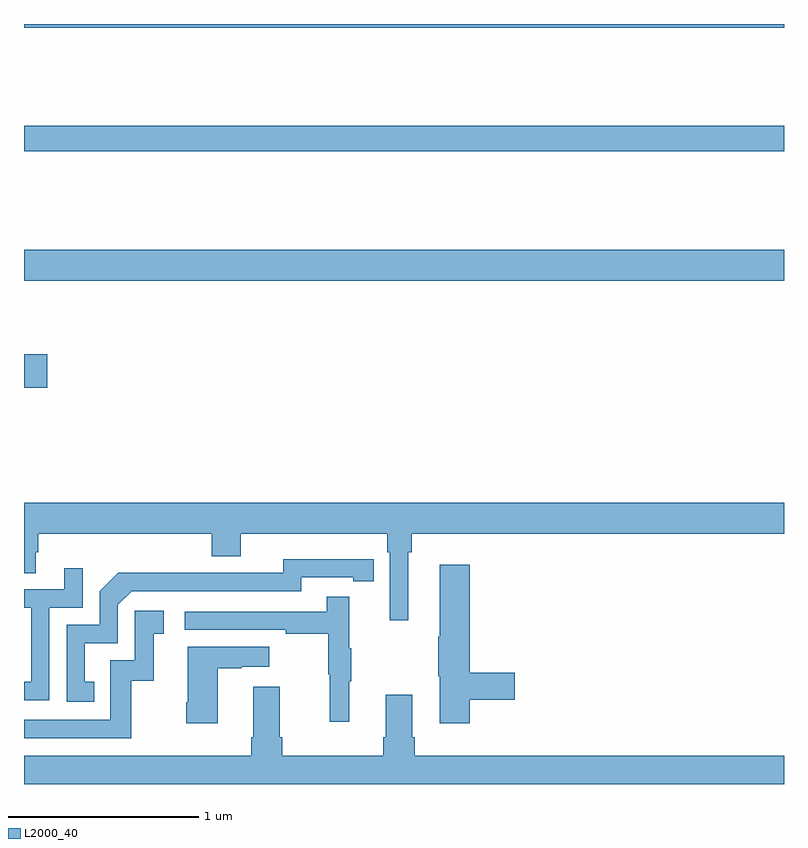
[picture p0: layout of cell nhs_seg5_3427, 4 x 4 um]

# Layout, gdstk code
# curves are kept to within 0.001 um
import gdstk
lib = gdstk.Library(unit=1e-6, precision=1e-09)
def R(c, l, rs):  # rectangles x0, y0, x1, y1
    for r in rs: c.add(gdstk.rectangle(r[:2], r[2:], *l))
def P(c, l, *ps):  # polygons
    for p in ps: c.add(gdstk.Polygon(p, *l))
L2000_40 = (2000, 40)

nhs_seg5_3427 = lib.new_cell('nhs_seg5_3427')
R(nhs_seg5_3427, L2000_40, [(313,834.884,313.123,835.062), (313,835.448,317,835.612), (313,836.128,317,836.264), (313,836.78,317,836.799)])
P(nhs_seg5_3427, L2000_40, [(315.022,834.02),(315.041,834.02),(315.041,834.116),(317,834.116),(317,834.28),(313,834.28),(313,833.908),(313.063,833.908),(313.063,834.018),(313.076,834.018),(313.076,834.116),(313.988,834.116),(313.988,833.999),(314.14,833.999),(314.14,834.116),(314.912,834.116),(314.912,834.02),(314.925,834.02),(314.925,833.661),(315.022,833.661)],
  [(313.37,833.337),(313.321,833.337),(313.321,833.541),(313.494,833.541),(313.494,833.742),(313.566,833.814),(314.46,833.814),(314.46,833.886),(314.732,833.886),(314.732,833.866),(314.84,833.866),(314.84,833.982),(314.364,833.983),(314.364,833.91),(313.904,833.91),(313.904,833.912),(313.496,833.912),(313.398,833.814),(313.398,833.637),(313.224,833.637),(313.224,833.232),(313.37,833.232)],
  [(315.347,833.242),(315.583,833.242),(315.583,833.384),(315.347,833.384),(315.347,833.953),(315.188,833.953),(315.188,833.573),(315.181,833.573),(315.181,833.367),(315.188,833.367),(315.188,833.118),(315.347,833.118)],
  [(313.134,833.727),(313.308,833.727),(313.308,833.935),(313.211,833.935),(313.211,833.823),(313,833.823),(313,833.727),(313.038,833.727),(313.038,833.338),(313,833.338),(313,833.241),(313.134,833.241)],
  [(314.711,833.339),(314.722,833.339),(314.722,833.513),(314.711,833.513),(314.711,833.785),(314.593,833.785),(314.593,833.706),(313.845,833.706),(313.845,833.61),(314.377,833.61),(314.377,833.59),(314.601,833.59),(314.601,833.376),(314.608,833.376),(314.608,833.127),(314.711,833.127)],
  [(313.564,833.343),(313.682,833.343),(313.682,833.589),(313.735,833.589),(313.735,833.71),(313.584,833.71),(313.584,833.451),(313.455,833.451),(313.455,833.136),(313,833.136),(313,833.04),(313.564,833.04)],
  [(314.02,833.407),(314.147,833.407),(314.147,833.417),(314.29,833.417),(314.29,833.521),(313.862,833.521),(313.862,833.23),(313.855,833.23),(313.855,833.118),(314.02,833.118)],
  [(317,832.948),(315.056,832.948),(315.056,833.044),(315.043,833.044),(315.043,833.269),(314.903,833.269),(314.903,833.044),(314.891,833.044),(314.891,832.948),(314.36,832.948),(314.36,833.044),(314.347,833.044),(314.347,833.311),(314.207,833.311),(314.207,833.044),(314.195,833.044),(314.195,832.948),(313,832.948),(313,832.799),(317,832.799)])

lib.write_gds('nhs_seg5_3427.gds')
